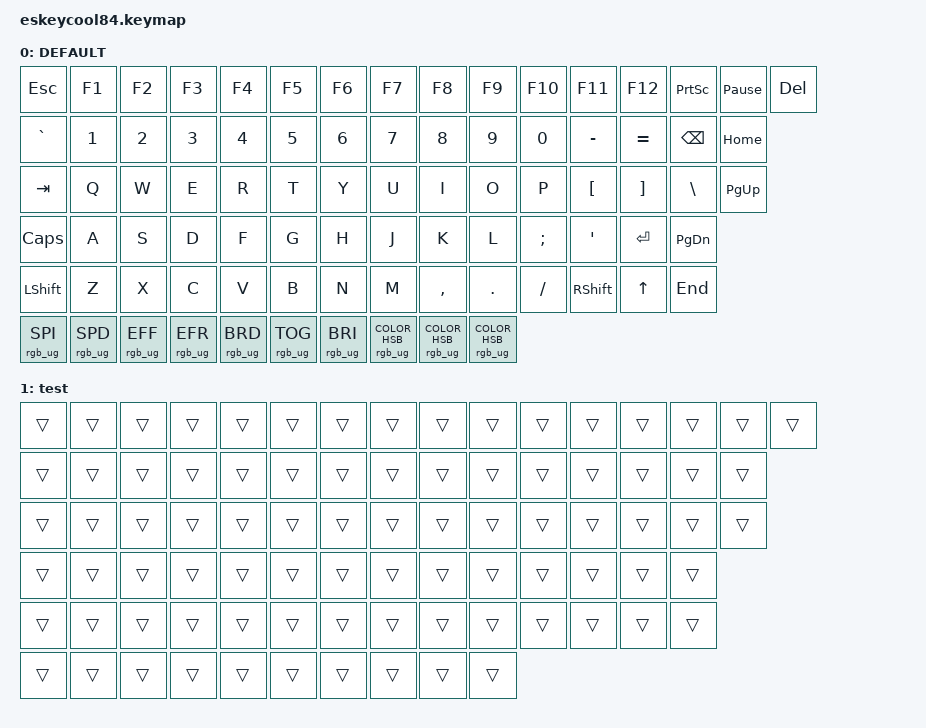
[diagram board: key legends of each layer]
/*
 * Copyright (c) 2020 The ZMK Contributors
 *
 * SPDX-License-Identifier: MIT
 */

#define DEFAULT  0

#include <behaviors.dtsi>
#include <dt-bindings/zmk/keys.h>
#include <dt-bindings/zmk/rgb.h>

/ {
    behaviors {
        hm: homerow_mods {
            compatible = "zmk,behavior-hold-tap";
            label = "HOMEROW_MODS";
            #binding-cells = <2>;
            tapping-term-ms = <150>;
            quick-tap-ms = <0>;
            flavor = "tap-preferred";
            bindings =
                <&kp>,
                <&kp>;
        };
    };

    keymap {
        compatible = "zmk,keymap";

        DEFAULT {
            label = "DEFAULT";
            bindings = <
        &kp ESC           &kp F1           &kp F2           &kp F3           &kp F4           &kp F5           &kp F6                           &kp F7                             &kp F8                             &kp F9        &kp F10           &kp F11            &kp F12  &kp PRINTSCREEN  &kp PAUSE_BREAK  &kp DELETE
      &kp GRAVE     &kp NUMBER_1     &kp NUMBER_2     &kp NUMBER_3     &kp NUMBER_4     &kp NUMBER_5     &kp NUMBER_6                     &kp NUMBER_7                       &kp NUMBER_8                       &kp NUMBER_9   &kp NUMBER_0         &kp MINUS          &kp EQUAL    &kp BACKSPACE         &kp HOME
        &kp TAB            &kp Q            &kp W            &kp E            &kp R            &kp T            &kp Y                            &kp U                              &kp I                              &kp O          &kp P  &kp LEFT_BRACKET  &kp RIGHT_BRACKET    &kp BACKSLASH      &kp PAGE_UP
       &kp CAPS            &kp A            &kp S            &kp D            &kp F            &kp G            &kp H                            &kp J                              &kp K                              &kp L  &kp SEMICOLON  &kp SINGLE_QUOTE          &kp ENTER    &kp PAGE_DOWN
 &kp LEFT_SHIFT            &kp Z            &kp X            &kp C            &kp V            &kp B            &kp N                            &kp M                          &kp COMMA                            &kp DOT      &kp SLASH   &kp RIGHT_SHIFT             &kp UP          &kp END
&rgb_ug RGB_SPI  &rgb_ug RGB_SPD  &rgb_ug RGB_EFF  &rgb_ug RGB_EFR  &rgb_ug RGB_BRD  &rgb_ug RGB_TOG  &rgb_ug RGB_BRI  &rgb_ug RGB_COLOR_HSB(0,100,50)  &rgb_ug RGB_COLOR_HSB(120,100,50)  &rgb_ug RGB_COLOR_HSB(240,100,50)
            >;
        };

        test {
            bindings = <
&trans  &trans  &trans  &trans  &trans  &trans  &trans  &trans  &trans  &trans  &trans  &trans  &trans  &trans  &trans  &trans
&trans  &trans  &trans  &trans  &trans  &trans  &trans  &trans  &trans  &trans  &trans  &trans  &trans  &trans  &trans
&trans  &trans  &trans  &trans  &trans  &trans  &trans  &trans  &trans  &trans  &trans  &trans  &trans  &trans  &trans
&trans  &trans  &trans  &trans  &trans  &trans  &trans  &trans  &trans  &trans  &trans  &trans  &trans  &trans
&trans  &trans  &trans  &trans  &trans  &trans  &trans  &trans  &trans  &trans  &trans  &trans  &trans  &trans
&trans  &trans  &trans  &trans  &trans  &trans  &trans  &trans  &trans  &trans
            >;
        };
    };
};
